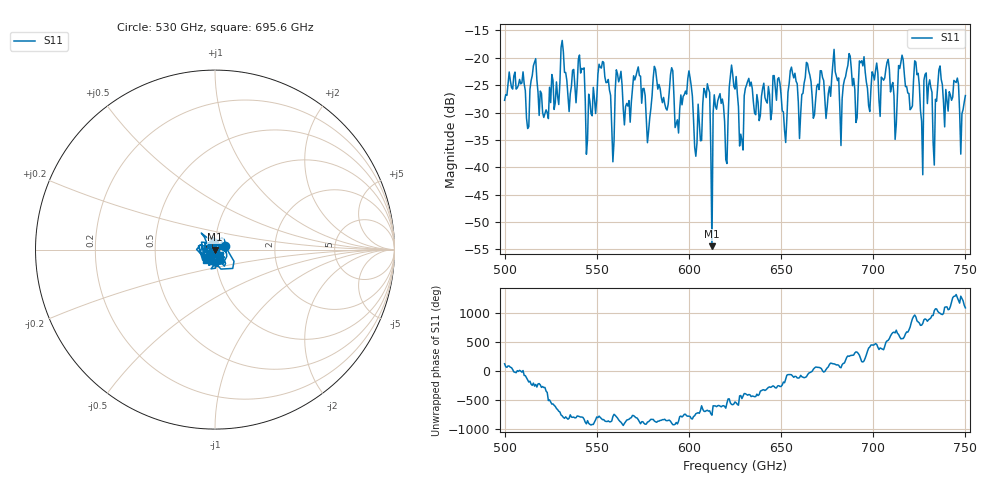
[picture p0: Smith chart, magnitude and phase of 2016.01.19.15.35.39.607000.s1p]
!Created with skrf (http://scikit-rf.org).
# GHz S RI R 50.0
!freq ReS11 ImS11
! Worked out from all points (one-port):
!   401 points, 500 GHz to 750 GHz, reference 50 ohm
!   lowest |S11| = -54.4 dB at 612.5 GHz (marker M1), VSWR 1.00, Z = 50.2 - j0.11 ohm
!   |S11| at or under -10 dB: start of sweep to end of sweep
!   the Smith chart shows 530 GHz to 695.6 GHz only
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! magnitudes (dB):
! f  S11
! 500 GHz  -27.8
! 512.5 GHz  -32.9
! 516.2 GHz  -20.8
! 522.5 GHz  -29.5
! 531.2 GHz  -16.8
! 541.9 GHz  -21.9
! 545.6 GHz  -26.6
! 552.5 GHz  -21.9
! 558.1 GHz  -32.6
! 562.5 GHz  -23.7
! 572.5 GHz  -21.7
! 578.1 GHz  -33.4
! 581.2 GHz  -21.6
! 590.6 GHz  -21.8
! 593.8 GHz  -31.3
! 600.6 GHz  -23.6
! 603.1 GHz  -36.3
! 609.4 GHz  -27.3
! 612.5 GHz  -54.4
! 625 GHz  -25.7
! 628.1 GHz  -33.9
! 631.9 GHz  -24.3
! 651.9 GHz  -33.2
! 656.2 GHz  -22.9
! 660.6 GHz  -30.3
! 687.5 GHz  -19.7
! 718.8 GHz  -26.4
! 750 GHz  -26.9
